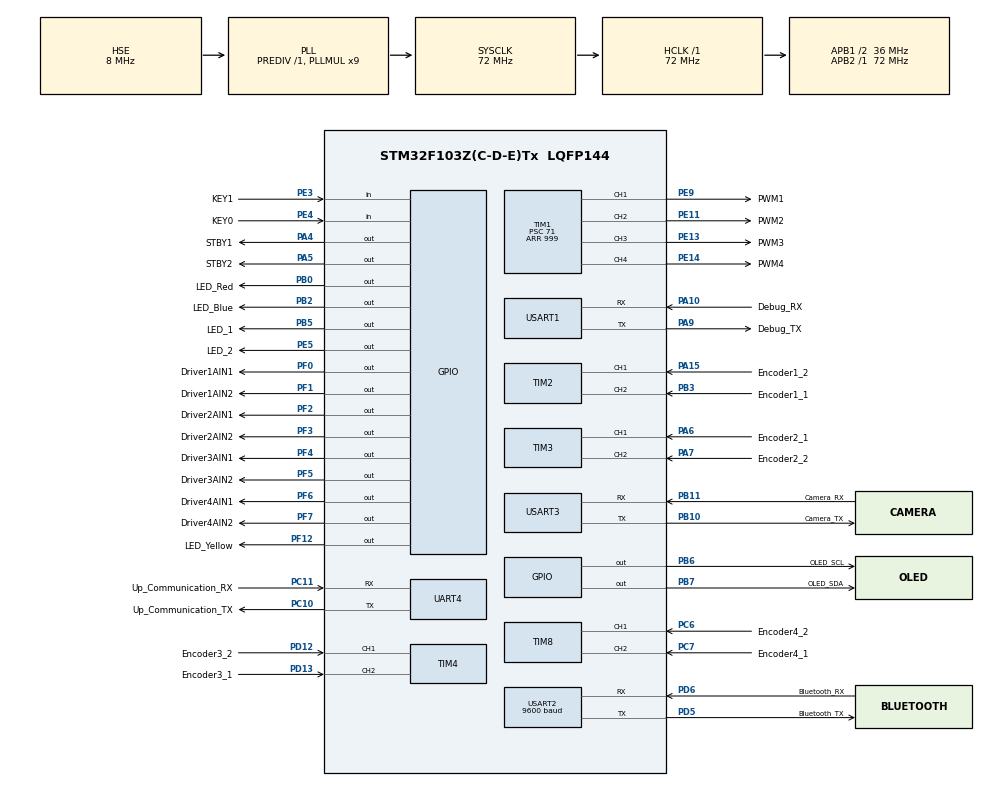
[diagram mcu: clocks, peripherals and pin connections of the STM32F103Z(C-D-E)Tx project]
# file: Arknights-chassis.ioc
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Dma.Request0=USART2_RX
Dma.Request1=USART2_TX
Dma.Request2=USART3_RX
Dma.Request3=USART3_TX
Dma.Request4=UART4_RX
Dma.Request5=UART4_TX
Dma.UART4_RX.4.Direction=DMA_PERIPH_TO_MEMORY
Dma.UART4_RX.4.Instance=DMA2_Channel3
Dma.UART4_RX.4.MemDataAlignment=DMA_MDATAALIGN_BYTE
Dma.UART4_RX.4.MemInc=DMA_MINC_ENABLE
Dma.UART4_RX.4.Mode=DMA_CIRCULAR
Dma.UART4_RX.4.PeriphDataAlignment=DMA_PDATAALIGN_BYTE
Dma.UART4_RX.4.PeriphInc=DMA_PINC_DISABLE
Dma.UART4_RX.4.Priority=DMA_PRIORITY_LOW
Dma.UART4_TX.5.Direction=DMA_MEMORY_TO_PERIPH
Dma.UART4_TX.5.Instance=DMA2_Channel5
Dma.UART4_TX.5.MemDataAlignment=DMA_MDATAALIGN_BYTE
Dma.UART4_TX.5.MemInc=DMA_MINC_ENABLE
Dma.UART4_TX.5.Mode=DMA_NORMAL
Dma.UART4_TX.5.PeriphDataAlignment=DMA_PDATAALIGN_BYTE
Dma.UART4_TX.5.PeriphInc=DMA_PINC_DISABLE
Dma.UART4_TX.5.Priority=DMA_PRIORITY_LOW
Dma.USART2_RX.0.Direction=DMA_PERIPH_TO_MEMORY
Dma.USART2_RX.0.Instance=DMA1_Channel6
Dma.USART2_RX.0.MemDataAlignment=DMA_MDATAALIGN_BYTE
Dma.USART2_RX.0.MemInc=DMA_MINC_ENABLE
Dma.USART2_RX.0.Mode=DMA_CIRCULAR
Dma.USART2_RX.0.PeriphDataAlignment=DMA_PDATAALIGN_BYTE
Dma.USART2_RX.0.PeriphInc=DMA_PINC_DISABLE
Dma.USART2_RX.0.Priority=DMA_PRIORITY_LOW
Dma.USART2_TX.1.Direction=DMA_MEMORY_TO_PERIPH
Dma.USART2_TX.1.Instance=DMA1_Channel7
Dma.USART2_TX.1.MemDataAlignment=DMA_MDATAALIGN_BYTE
Dma.USART2_TX.1.MemInc=DMA_MINC_ENABLE
Dma.USART2_TX.1.Mode=DMA_NORMAL
Dma.USART2_TX.1.PeriphDataAlignment=DMA_PDATAALIGN_BYTE
Dma.USART2_TX.1.PeriphInc=DMA_PINC_DISABLE
Dma.USART2_TX.1.Priority=DMA_PRIORITY_LOW
Dma.USART3_RX.2.Direction=DMA_PERIPH_TO_MEMORY
Dma.USART3_RX.2.Instance=DMA1_Channel3
Dma.USART3_RX.2.MemDataAlignment=DMA_MDATAALIGN_BYTE
Dma.USART3_RX.2.MemInc=DMA_MINC_ENABLE
Dma.USART3_RX.2.Mode=DMA_CIRCULAR
Dma.USART3_RX.2.PeriphDataAlignment=DMA_PDATAALIGN_BYTE
Dma.USART3_RX.2.PeriphInc=DMA_PINC_DISABLE
Dma.USART3_RX.2.Priority=DMA_PRIORITY_LOW
Dma.USART3_TX.3.Direction=DMA_MEMORY_TO_PERIPH
Dma.USART3_TX.3.Instance=DMA1_Channel2
Dma.USART3_TX.3.MemDataAlignment=DMA_MDATAALIGN_BYTE
Dma.USART3_TX.3.MemInc=DMA_MINC_ENABLE
Dma.USART3_TX.3.Mode=DMA_NORMAL
Dma.USART3_TX.3.PeriphDataAlignment=DMA_PDATAALIGN_BYTE
Dma.USART3_TX.3.PeriphInc=DMA_PINC_DISABLE
Dma.USART3_TX.3.Priority=DMA_PRIORITY_LOW
FREERTOS.BinarySemaphores01=xPidSemaphore,Dynamic,NULL,Depleted;xBtReadySem,Dynamic,NULL,Depleted;xUpCommSem,Dynamic,NULL,Depleted
FREERTOS.Mutexes01=xCamMutex,Dynamic,NULL,Available
FREERTOS.Queues01=xCmdQueue,1,uint16_t,0,Dynamic,NULL,NULL;xStatusQueue,16,uint16_t,0,Dynamic,NULL,NULL;xCameraQueue,16,uint16_t,0,Dynamic,NULL,NULL;xUpCommQueue,16,uint16_t,0,Dynamic,NULL,NULL
FREERTOS.Tasks01=PID_Task,40,128,StartPID_Task,Default,NULL,Dynamic,NULL,NULL;Bluetooth_Task,24,128,StartBluetooth_Task,Default,NULL,Dynamic,NULL,NULL;Camera_Task,8,128,StartCamera_Task,Default,NULL,Dynamic,NULL,NULL;KeyTask,41,128,StartKeyTask,Default,NULL,Dynamic,NULL,NULL;UpComm_Task,32,128,StartUpComm_Task,Default,NULL,Dynamic,NULL,NULL
FREERTOS.configTOTAL_HEAP_SIZE=35000
Mcu.Family=STM32F1
Mcu.Name=STM32F103Z(C-D-E)Tx
Mcu.Package=LQFP144
NVIC.DMA1_Channel2_IRQn=true\:5\:0\:false\:false\:true\:true\:false\:true\:true
NVIC.DMA1_Channel3_IRQn=true\:5\:0\:false\:false\:true\:true\:false\:true\:true
NVIC.DMA1_Channel6_IRQn=true\:5\:0\:false\:false\:true\:true\:false\:true\:true
NVIC.DMA1_Channel7_IRQn=true\:5\:0\:false\:false\:true\:true\:false\:true\:true
NVIC.DMA2_Channel3_IRQn=true\:5\:0\:false\:false\:true\:true\:false\:true\:true
NVIC.DMA2_Channel4_5_IRQn=true\:5\:0\:false\:false\:true\:true\:false\:true\:true
NVIC.PriorityGroup=NVIC_PRIORITYGROUP_4
NVIC.TIM6_IRQn=true\:15\:0\:false\:false\:true\:false\:false\:true\:true
NVIC.TimeBase=TIM6_IRQn
NVIC.TimeBaseIP=TIM6
NVIC.UART4_IRQn=true\:5\:0\:false\:false\:true\:true\:true\:true\:true
NVIC.USART1_IRQn=true\:5\:0\:false\:false\:true\:true\:false\:true\:true
NVIC.USART2_IRQn=true\:5\:0\:false\:false\:true\:true\:false\:true\:true
NVIC.USART3_IRQn=true\:5\:0\:false\:false\:true\:true\:false\:true\:true
OSC_IN.Mode=HSE-External-Oscillator
OSC_IN.Signal=RCC_OSC_IN
OSC_OUT.Mode=HSE-External-Oscillator
OSC_OUT.Signal=RCC_OSC_OUT
PA10.GPIO_Label=Debug_RX
PA10.Mode=Asynchronous
PA10.Signal=USART1_RX
PA13.Mode=Serial_Wire
PA13.Signal=SYS_JTMS-SWDIO
PA14.Mode=Serial_Wire
PA14.Signal=SYS_JTCK-SWCLK
PA15.GPIO_Label=Encoder1_2
PA15.Signal=S_TIM2_CH1_ETR
PA4.GPIO_Label=STBY1
PA4.Signal=GPIO_Output
PA5.GPIO_Label=STBY2
PA5.Signal=GPIO_Output
PA6.GPIO_Label=Encoder2_1
PA6.Signal=S_TIM3_CH1
PA7.GPIO_Label=Encoder2_2
PA7.Signal=S_TIM3_CH2
PA9.GPIO_Label=Debug_TX
PA9.Mode=Asynchronous
PA9.Signal=USART1_TX
PB0.GPIO_Label=LED_Red
PB0.Signal=GPIO_Output
PB10.GPIO_Label=Camera_TX
PB10.Mode=Asynchronous
PB10.Signal=USART3_TX
PB11.GPIO_Label=Camera_RX
PB11.Mode=Asynchronous
PB11.Signal=USART3_RX
PB2.GPIO_Label=LED_Blue
PB2.Signal=GPIO_Output
PB3.GPIO_Label=Encoder1_1
PB3.Signal=S_TIM2_CH2
PB5.GPIO_Label=LED_1
PB5.PinState=GPIO_PIN_SET
PB5.Signal=GPIO_Output
PB6.GPIO_Label=OLED_SCL
PB6.GPIO_ModeDefaultOutputPP=GPIO_MODE_OUTPUT_OD
PB6.GPIO_PuPd=GPIO_PULLUP
PB6.GPIO_Speed=GPIO_SPEED_FREQ_HIGH
PB6.Signal=GPIO_Output
PB7.GPIO_Label=OLED_SDA
PB7.GPIO_ModeDefaultOutputPP=GPIO_MODE_OUTPUT_OD
PB7.GPIO_PuPd=GPIO_PULLUP
PB7.GPIO_Speed=GPIO_SPEED_FREQ_HIGH
PB7.Signal=GPIO_Output
PC10.GPIO_Label=Up_Communication_TX
PC10.Mode=Asynchronous
PC10.Signal=UART4_TX
PC11.GPIO_Label=Up_Communication_RX
PC11.Mode=Asynchronous
PC11.Signal=UART4_RX
PC6.GPIO_Label=Encoder4_2
PC6.Signal=S_TIM8_CH1
PC7.GPIO_Label=Encoder4_1
PC7.Signal=S_TIM8_CH2
PD12.GPIO_Label=Encoder3_2
PD12.Signal=S_TIM4_CH1
PD13.GPIO_Label=Encoder3_1
PD13.Signal=S_TIM4_CH2
PD5.GPIO_Label=Bluetooth_TX
PD5.Mode=Asynchronous
PD5.Signal=USART2_TX
PD6.GPIO_Label=Bluetooth_RX
PD6.Mode=Asynchronous
PD6.Signal=USART2_RX
PE11.GPIO_Label=PWM2
PE11.Signal=S_TIM1_CH2
PE13.GPIO_Label=PWM3
PE13.Signal=S_TIM1_CH3
PE14.GPIO_Label=PWM4
PE14.Signal=S_TIM1_CH4
PE3.GPIO_Label=KEY1
PE3.GPIO_PuPd=GPIO_PULLUP
PE3.Signal=GPIO_Input
PE4.GPIO_Label=KEY0
PE4.GPIO_PuPd=GPIO_PULLUP
PE4.Signal=GPIO_Input
PE5.GPIO_Label=LED_2
PE5.PinState=GPIO_PIN_SET
PE5.Signal=GPIO_Output
PE9.GPIO_Label=PWM1
PE9.Signal=S_TIM1_CH1
PF0.GPIO_Label=Driver1AIN1
PF0.Signal=GPIO_Output
PF1.GPIO_Label=Driver1AIN2
PF1.Signal=GPIO_Output
PF12.GPIO_Label=LED_Yellow
PF12.Signal=GPIO_Output
PF2.GPIO_Label=Driver2AIN1
PF2.Signal=GPIO_Output
PF3.GPIO_Label=Driver2AIN2
PF3.Signal=GPIO_Output
PF4.GPIO_Label=Driver3AIN1
PF4.Signal=GPIO_Output
PF5.GPIO_Label=Driver3AIN2
PF5.Signal=GPIO_Output
PF6.GPIO_Label=Driver4AIN1
PF6.Signal=GPIO_Output
PF7.GPIO_Label=Driver4AIN2
PF7.Signal=GPIO_Output
ProjectManager.HeapSize=0x200
ProjectManager.StackSize=0x400
ProjectManager.TargetToolchain=CMake
RCC.AHBFreq_Value=72000000
RCC.APB1CLKDivider=RCC_HCLK_DIV2
RCC.APB1Freq_Value=36000000
RCC.APB1TimFreq_Value=72000000
RCC.APB2Freq_Value=72000000
RCC.APB2TimFreq_Value=72000000
RCC.HCLKFreq_Value=72000000
RCC.PLLMUL=RCC_PLL_MUL9
RCC.PLLSourceVirtual=RCC_PLLSOURCE_HSE
RCC.SYSCLKFreq_VALUE=72000000
RCC.SYSCLKSource=RCC_SYSCLKSOURCE_PLLCLK
RCC.USBFreq_Value=72000000
SH.S_TIM1_CH1.0=TIM1_CH1,PWM Generation1 CH1
SH.S_TIM1_CH2.0=TIM1_CH2,PWM Generation2 CH2
SH.S_TIM1_CH3.0=TIM1_CH3,PWM Generation3 CH3
SH.S_TIM1_CH4.0=TIM1_CH4,PWM Generation4 CH4
SH.S_TIM2_CH1_ETR.0=TIM2_CH1,Encoder_Interface
SH.S_TIM2_CH2.0=TIM2_CH2,Encoder_Interface
SH.S_TIM3_CH1.0=TIM3_CH1,Encoder_Interface
SH.S_TIM3_CH2.0=TIM3_CH2,Encoder_Interface
SH.S_TIM4_CH1.0=TIM4_CH1,Encoder_Interface
SH.S_TIM4_CH2.0=TIM4_CH2,Encoder_Interface
SH.S_TIM8_CH1.0=TIM8_CH1,Encoder_Interface
SH.S_TIM8_CH2.0=TIM8_CH2,Encoder_Interface
TIM1.Channel-PWM\ Generation1\ CH1=TIM_CHANNEL_1
TIM1.Channel-PWM\ Generation2\ CH2=TIM_CHANNEL_2
TIM1.Channel-PWM\ Generation3\ CH3=TIM_CHANNEL_3
TIM1.Channel-PWM\ Generation4\ CH4=TIM_CHANNEL_4
TIM1.Period=999
TIM1.Prescaler=71
TIM2.EncoderMode=TIM_ENCODERMODE_TI12
TIM3.EncoderMode=TIM_ENCODERMODE_TI12
TIM4.EncoderMode=TIM_ENCODERMODE_TI12
TIM8.EncoderMode=TIM_ENCODERMODE_TI12
UART4.VirtualMode=Asynchronous
USART1.VirtualMode=VM_ASYNC
USART2.BaudRate=9600
USART2.VirtualMode=VM_ASYNC
USART3.VirtualMode=VM_ASYNC
VP_FREERTOS_VS_CMSIS_V2.Mode=CMSIS_V2
VP_SYS_VS_tim6.Mode=TIM6
board=custom

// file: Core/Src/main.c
/* USER CODE BEGIN Header */
/**
  ******************************************************************************
  * @file           : main.c
  * @brief          : Main program body
  ******************************************************************************
  * @attention
  *
  * Copyright (c) 2026 STMicroelectronics.
  * All rights reserved.
  *
  * This software is licensed under terms that can be found in the LICENSE file
  * in the root directory of this software component.
  * If no LICENSE file comes with this software, it is provided AS-IS.
  *
  ******************************************************************************
  */
/* USER CODE END Header */
#include "main.h"
#include "cmsis_os.h"
#include "dma.h"
#include "tim.h"
#include "usart.h"
#include "gpio.h"

void SystemClock_Config(void);
void MX_FREERTOS_Init(void);

int main(void)
{

  /* MCU Configuration--------------------------------------------------------*/

  /* Reset of all peripherals, Initializes the Flash interface and the Systick. */
  HAL_Init();

  /* Configure the system clock */
  SystemClock_Config();

  /* Initialize all configured peripherals */
  MX_GPIO_Init();
  MX_DMA_Init();
  MX_TIM1_Init();
  MX_TIM2_Init();
  MX_TIM3_Init();
  MX_TIM4_Init();
  MX_TIM8_Init();
  MX_USART1_UART_Init();
  MX_USART2_UART_Init();
  MX_USART3_UART_Init();
  MX_UART4_Init();

  /* Init scheduler */
  osKernelInitialize();  /* Call init function for freertos objects (in cmsis_os2.c) */
  MX_FREERTOS_Init();

  /* Start scheduler */
  osKernelStart();

  /* We should never get here as control is now taken by the scheduler */

  /* Infinite loop */
  while (1)
  {

  }
}

void SystemClock_Config(void)
{
  RCC_OscInitTypeDef RCC_OscInitStruct = {0};
  RCC_ClkInitTypeDef RCC_ClkInitStruct = {0};

  /** Initializes the RCC Oscillators according to the specified parameters
  * in the RCC_OscInitTypeDef structure.
  */
  RCC_OscInitStruct.OscillatorType = RCC_OSCILLATORTYPE_HSE;
  RCC_OscInitStruct.HSEState = RCC_HSE_ON;
  RCC_OscInitStruct.HSEPredivValue = RCC_HSE_PREDIV_DIV1;
  RCC_OscInitStruct.HSIState = RCC_HSI_ON;
  RCC_OscInitStruct.PLL.PLLState = RCC_PLL_ON;
  RCC_OscInitStruct.PLL.PLLSource = RCC_PLLSOURCE_HSE;
  RCC_OscInitStruct.PLL.PLLMUL = RCC_PLL_MUL9;
  if (HAL_RCC_OscConfig(&RCC_OscInitStruct) != HAL_OK)
  {
    Error_Handler();
  }

  /** Initializes the CPU, AHB and APB buses clocks
  */
  RCC_ClkInitStruct.ClockType = RCC_CLOCKTYPE_HCLK|RCC_CLOCKTYPE_SYSCLK
                              |RCC_CLOCKTYPE_PCLK1|RCC_CLOCKTYPE_PCLK2;
  RCC_ClkInitStruct.SYSCLKSource = RCC_SYSCLKSOURCE_PLLCLK;
  RCC_ClkInitStruct.AHBCLKDivider = RCC_SYSCLK_DIV1;
  RCC_ClkInitStruct.APB1CLKDivider = RCC_HCLK_DIV2;
  RCC_ClkInitStruct.APB2CLKDivider = RCC_HCLK_DIV1;

  if (HAL_RCC_ClockConfig(&RCC_ClkInitStruct, FLASH_LATENCY_2) != HAL_OK)
  {
    Error_Handler();
  }
}

void HAL_TIM_PeriodElapsedCallback(TIM_HandleTypeDef *htim)
{
  if (htim->Instance == TIM6)
  {
    HAL_IncTick();
  }
}

void Error_Handler(void)
{
  __disable_irq();
  while (1)
  {
  }
}

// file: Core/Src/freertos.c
/* USER CODE BEGIN Header */
/**
  ******************************************************************************
  * File Name          : freertos.c
  * Description        : Code for freertos applications
  ******************************************************************************
  * @attention
  *
  * Copyright (c) 2026 STMicroelectronics.
  * All rights reserved.
  *
  * This software is licensed under terms that can be found in the LICENSE file
  * in the root directory of this software component.
  * If no LICENSE file comes with this software, it is provided AS-IS.
  *
  ******************************************************************************
  */
/* USER CODE END Header */

#include "FreeRTOS.h"
#include "task.h"
#include "main.h"
#include "cmsis_os.h"

/* USER CODE BEGIN Includes */
#include "motor.h"
#include "kinematics.h"
#include "remote.h"
#include "OLED.h"
#include "bluetooth.h"
#include "key.h"
#include "camera.h"
#include "usart.h"
#include <stdio.h>

#include "tim.h"
/* USER CODE END Includes */

/* Definitions for PID_Task */
osThreadId_t PID_TaskHandle;
const osThreadAttr_t PID_Task_attributes = {
  .name = "PID_Task",
  .stack_size = 128 * 4,
  .priority = (osPriority_t) osPriorityHigh,
};
/* Definitions for Bluetooth_Task */
osThreadId_t Bluetooth_TaskHandle;
const osThreadAttr_t Bluetooth_Task_attributes = {
  .name = "Bluetooth_Task",
  .stack_size = 128 * 4,
  .priority = (osPriority_t) osPriorityNormal,
};
/* Definitions for Camera_Task */
osThreadId_t Camera_TaskHandle;
const osThreadAttr_t Camera_Task_attributes = {
  .name = "Camera_Task",
  .stack_size = 128 * 4,
  .priority = (osPriority_t) osPriorityLow,
};
/* Definitions for KeyTask */
osThreadId_t KeyTaskHandle;
const osThreadAttr_t KeyTask_attributes = {
  .name = "KeyTask",
  .stack_size = 128 * 4,
  .priority = (osPriority_t) osPriorityHigh1,
};
/* Definitions for UpComm_Task */
osThreadId_t UpComm_TaskHandle;
const osThreadAttr_t UpComm_Task_attributes = {
  .name = "UpComm_Task",
  .stack_size = 128 * 4,
  .priority = (osPriority_t) osPriorityAboveNormal,
};
/* Definitions for xCmdQueue */
osMessageQueueId_t xCmdQueueHandle;
const osMessageQueueAttr_t xCmdQueue_attributes = {
  .name = "xCmdQueue"
};
/* Definitions for xStatusQueue */
osMessageQueueId_t xStatusQueueHandle;
const osMessageQueueAttr_t xStatusQueue_attributes = {
  .name = "xStatusQueue"
};
/* Definitions for xCameraQueue */
osMessageQueueId_t xCameraQueueHandle;
const osMessageQueueAttr_t xCameraQueue_attributes = {
  .name = "xCameraQueue"
};
/* Definitions for xUpCommQueue */
osMessageQueueId_t xUpCommQueueHandle;
const osMessageQueueAttr_t xUpCommQueue_attributes = {
  .name = "xUpCommQueue"
};
/* Definitions for xCamMutex */
osMutexId_t xCamMutexHandle;
const osMutexAttr_t xCamMutex_attributes = {
  .name = "xCamMutex"
};
/* Definitions for xPidSemaphore */
osSemaphoreId_t xPidSemaphoreHandle;
const osSemaphoreAttr_t xPidSemaphore_attributes = {
  .name = "xPidSemaphore"
};
/* Definitions for xBtReadySem */
osSemaphoreId_t xBtReadySemHandle;
const osSemaphoreAttr_t xBtReadySem_attributes = {
  .name = "xBtReadySem"
};
/* Definitions for xUpCommSem */
osSemaphoreId_t xUpCommSemHandle;
const osSemaphoreAttr_t xUpCommSem_attributes = {
  .name = "xUpCommSem"
};

void StartPID_Task(void *argument);
void StartBluetooth_Task(void *argument);
void StartCamera_Task(void *argument);
void StartKeyTask(void *argument);
void StartUpComm_Task(void *argument);

void MX_FREERTOS_Init(void); /* (MISRA C 2004 rule 8.1) */

void MX_FREERTOS_Init(void) {
  /* Create the mutex(es) */
  /* creation of xCamMutex */
  xCamMutexHandle = osMutexNew(&xCamMutex_attributes);

  /* Create the semaphores(s) */
  /* creation of xPidSemaphore */
  xPidSemaphoreHandle = osSemaphoreNew(1, 0, &xPidSemaphore_attributes);

  /* creation of xBtReadySem */
  xBtReadySemHandle = osSemaphoreNew(1, 0, &xBtReadySem_attributes);

  /* creation of xUpCommSem */
  xUpCommSemHandle = osSemaphoreNew(1, 0, &xUpCommSem_attributes);

  /* Create the queue(s) */
  /* creation of xCmdQueue */
  xCmdQueueHandle = osMessageQueueNew (1, sizeof(uint16_t), &xCmdQueue_attributes);

  /* creation of xStatusQueue */
  xStatusQueueHandle = osMessageQueueNew (16, sizeof(uint16_t), &xStatusQueue_attributes);

  /* creation of xCameraQueue */
  xCameraQueueHandle = osMessageQueueNew (16, sizeof(uint16_t), &xCameraQueue_attributes);

  /* creation of xUpCommQueue */
  xUpCommQueueHandle = osMessageQueueNew (16, sizeof(uint16_t), &xUpCommQueue_attributes);

  /* Create the thread(s) */
  /* creation of PID_Task */
  PID_TaskHandle = osThreadNew(StartPID_Task, NULL, &PID_Task_attributes);

  /* creation of Bluetooth_Task */
  Bluetooth_TaskHandle = osThreadNew(StartBluetooth_Task, NULL, &Bluetooth_Task_attributes);

  /* creation of Camera_Task */
  Camera_TaskHandle = osThreadNew(StartCamera_Task, NULL, &Camera_Task_attributes);

  /* creation of KeyTask */
  KeyTaskHandle = osThreadNew(StartKeyTask, NULL, &KeyTask_attributes);

  /* creation of UpComm_Task */
  UpComm_TaskHandle = osThreadNew(StartUpComm_Task, NULL, &UpComm_Task_attributes);

}

void StartPID_Task(void *argument)
{
  /* USER CODE BEGIN StartPID_Task */
  /* 初始化电机和编码器 */
  Motor_Init();
  Encoder_Init();
  Kinematics_ResetPose(0, 0, 0);
  Remote_Init();

  /* 按键控制状态 */
  static uint8_t motor_toggle_state = 0;  /* 0=停止, 1=运行 */
  static uint8_t key0_last_state = 0;    /* KEY0 上次状态 */
  static uint8_t key1_last_state = 0;    /* KEY1 上次状态 */
  static uint8_t key_forward_active = 0;  /* 按键前进激活标志 */

  /* VOFA 发送缓冲 */
  static char vofa_buf[256];
  static char up_buf[16];
  static int32_t last_sent_num = -1;
  uint32_t vofa_last_send = 0;

  /* 初始化显示 */
  OLED_Init();
  OLED_Clear();
  OLED_ShowString(0, 0, "Chassis Ready", OLED_8X16);
  OLED_Update();

  /* 主循环 */
  for(;;)
  {
    /* 更新编码器 */
    Motor_EncoderUpdate();

    /* 获取遥控器数据 */
    RemoteData_t* remote = Remote_GetData();

    /* 遥控器数字同步到上层板：数字变化时通过 UART4 转发 */
    if (remote->receive_number != last_sent_num) {
      last_sent_num = remote->receive_number;
      int up_len = sprintf(up_buf, "%ld\r\n", (long)remote->receive_number);
      HAL_UART_Transmit(&huart4, (uint8_t*)up_buf, up_len, 50);
    }

    /* 检查按键状态 - 按一下toggle开/关 */
    uint8_t key0_pressed = KEY_IsPressed(KEY_ID_0);
    uint8_t key1_pressed = KEY_IsPressed(KEY_ID_1);

    /* KEY0: 前进/停止 toggle */
    if (key0_pressed && !key0_last_state) {
      if (motor_toggle_state == 0) {
        motor_toggle_state = 1;
        key_forward_active = 1;  /* 标记按键前进激活 */
        Kinematics_SetTarget(KEY_FORWARD_SPEED, 0, 0);  /* 前进用 vx */
      } else {
        motor_toggle_state = 0;
        key_forward_active = 0;  /* 取消前进标记 */
        Kinematics_SetTarget(0, 0, 0);
      }
    }
    key0_last_state = key0_pressed;

    /* KEY1: 后退/停止 toggle */
    if (key1_pressed && !key1_last_state) {
      if (motor_toggle_state == 0) {
        motor_toggle_state = 1;
        key_forward_active = 0;  /* 取消前进标记 */
        Kinematics_SetTarget(KEY_BACKWARD_SPEED, 0, 0);  /* 后退用 vx */
      } else {
        motor_toggle_state = 0;
        Kinematics_SetTarget(0, 0, 0);
      }
    }
    key1_last_state = key1_pressed;

    /* 速度控制逻辑：遥控器优先，但摇杆中间时不再保留残留目标 */
    if (!Remote_IsConnected()) {
      /* 遥控器未连接，使用按键设置；若未进入按键模式则清零 */
      if (motor_toggle_state == 0) {
        Kinematics_SetTarget(0, 0, 0);
      }
    } else if (remote->vx == 0 && remote->vy == 0 && remote->omega == 0) {
      /* 遥控器连接但摇杆回中：只有按键未接管时才清零，避免残留非零目标 */
      if (motor_toggle_state == 0) {
        Kinematics_SetTarget(0, 0, 0);
      }
    } else {
      /* 遥控器连接且摇杆有输入，使用遥控器数据 */
      motor_toggle_state = 0;
      key_forward_active = 0;
      Kinematics_SetTarget(remote->vx, remote->vy, remote->omega);
    }

    /* 获取轮子目标速度 */
    WheelSpeedMm_t* wheel = Kinematics_GetTargetWheelSpeed();

    /* 设置电机速度 */
    Motor_SetSpeed(wheel->left_front, wheel->right_front, wheel->left_back, wheel->right_back);

    /* PID控制 */
    Motor_ControlLoop();

    /* 更新里程计 */
    Kinematics_UpdatePosition(0.001f);  /* 1ms */

    /* 发送 VOFA+ 调试数据 (20ms间隔) */
    uint32_t now = osKernelGetTickCount();
    if (now - vofa_last_send >= 20) {
      vofa_last_send = now;
      ChassisMotorState_t* state = Motor_GetState();

      /* 读取原始编码器读书用于调试 */
      uint16_t enc1 = __HAL_TIM_GET_COUNTER(&htim2);
      uint16_t enc2 = __HAL_TIM_GET_COUNTER(&htim3);
      uint16_t enc3 = __HAL_TIM_GET_COUNTER(&htim4);
      uint16_t enc4 = __HAL_TIM_GET_COUNTER(&htim8);

      int len = sprintf(vofa_buf,
        "%d,%d,%d,%d,%d,%d,%d,%d,%d,%d,%d,%d,%d\n",
        (int)wheel->left_front,
        (int)wheel->right_front,
        (int)wheel->left_back,
        (int)wheel->right_back,
        (int)state->feedback_left_front,
        (int)state->feedback_right_front,
        (int)state->feedback_left_back,
        (int)state->feedback_right_back,
        (int)enc1,
        (int)enc2,
        (int)enc3,
        (int)enc4,
        (int)Motor_GetMode()
      );
      // 然后发送实际数据
      HAL_UART_Transmit(&huart1, (uint8_t*)vofa_buf, len, 100);
    }

    /* 显示状态 (降低刷新率) */
    static uint32_t last_display = 0;
    if (now - last_display > 100) {
      last_display = now;
      OLED_ClearArea(0, 0, 128, 64);
      ChassisMotorState_t* state = Motor_GetState();
      /* 显示遥控器目标速度和旋转速度 */
      OLED_Printf(0, 0, OLED_6X8, "Vx:%+d Vy:%+d W:%+d", (int)remote->vx, (int)remote->vy, (int)remote->omega);
      /* 显示四个电机的PWM值 */
      OLED_Printf(0, 8, OLED_6X8, "LF:%+4d RF:%+4d", state->PWM_left_front, state->PWM_right_front);
      OLED_Printf(0, 16, OLED_6X8, "LB:%+4d RB:%+4d", state->PWM_left_back, state->PWM_right_back);

      /* 显示相机调试信息 */
      uint32_t rx_count, raw_len;
      uint8_t valid, idle_flag;
      idle_flag = Camera_GetDebugInfo(&rx_count, &raw_len, &valid);

      OLED_Printf(0, 24, OLED_6X8, "RX:%d Idle:%d M:%d", rx_count, idle_flag, Motor_GetMode());

      if (raw_len > 0) {
        OLED_Printf(0, 32, OLED_6X8, "Raw:%s", Camera_GetRawData());
      } else {
        OLED_Printf(0, 32, OLED_6X8, "Raw:None");
      }

      /* 显示解析后的颜色 */
      if (valid) {
        OLED_Printf(0, 40, OLED_6X8, "C1:%s", Camera_GetColor1());
        OLED_Printf(64, 40, OLED_6X8, "C2:%s", Camera_GetColor2());
        /* color3 显示第三个及以后的颜色 */
        const char* c3 = Camera_GetColor3();
        if (c3[0] != '\0') {
          OLED_Printf(0, 50, OLED_6X8, "C3:%s", c3);
        } else {
          OLED_Printf(0, 50, OLED_6X8, "C3:None");
        }
      } else {
        OLED_Printf(0, 40, OLED_6X8, "Color:Waiting");
        OLED_Printf(0, 50, OLED_6X8, "C3:None");
      }

      OLED_Update();
    }

    /* LED控制逻辑 */
    /* 遥控器连接且有摇杆输入时，PE5(LED_2)置低电平 */
    if (Remote_IsConnected()) {
      /* 检查是否有非零速度指令（摇杆有输入） */
      if (remote->vx != 0 || remote->vy != 0 || remote->omega != 0) {
        HAL_GPIO_WritePin(LED_2_GPIO_Port, LED_2_Pin, GPIO_PIN_RESET);  /* PE5置低 */
      } else {
        HAL_GPIO_WritePin(LED_2_GPIO_Port, LED_2_Pin, GPIO_PIN_SET);   /* PE5置高 */
      }
    } else {
      HAL_GPIO_WritePin(LED_2_GPIO_Port, LED_2_Pin, GPIO_PIN_SET);      /* 遥控器未连接，PE5置高 */
    }

    /* KEY0按下前进时，PB5(LED_1)置低电平 */
    if (key_forward_active) {
      HAL_GPIO_WritePin(LED_1_GPIO_Port, LED_1_Pin, GPIO_PIN_SET);  /* PB5置低 */
    } else {
      HAL_GPIO_WritePin(LED_1_GPIO_Port, LED_1_Pin, GPIO_PIN_RESET);   /* PB5置高 */
    }

    osDelay(10);
  }
  /* USER CODE END StartPID_Task */
}

void StartBluetooth_Task(void *argument)
{
  /* USER CODE BEGIN StartBluetooth_Task */
  /* 初始化蓝牙模块 */
  BT_Init();

  /* 主循环 - 等待蓝牙数据 */
  for(;;)
  {
    /* 等待新数据或超时 */
    if (BT_WaitData(100)) {
      /* 有新数据到达，已经在中断中处理 */
    }

    osDelay(1);
  }
  /* USER CODE END StartBluetooth_Task */
}

void StartCamera_Task(void *argument)
{
  /* USER CODE BEGIN StartCamera_Task */
  /* 初始化相机数据接收 */
  Camera_Init();

  /* 主循环 */
  for(;;)
  {
    /* 处理接收到的数据 */
    Camera_Process();

    /* 发送颜色数据到蓝牙（遥控器） */
    static uint32_t last_send = 0;
    uint32_t now = osKernelGetTickCount();
    if (now - last_send >= 100) {  /* 100ms发送一次 */
      last_send = now;
      Camera_SendToBluetooth(&huart2);
    }

    osDelay(10);  /* 10ms周期 */
  }
  /* USER CODE END StartCamera_Task */
}

void StartKeyTask(void *argument)
{
  /* USER CODE BEGIN StartKeyTask */
  /* 初始化按键模块 */
  KEY_Init();

  /* 主循环 - 按键扫描 */
  for(;;)
  {
    KEY_Scan();
    osDelay(20);  /* 20ms 扫描周期 */
  }
  /* USER CODE END StartKeyTask */
}

void StartUpComm_Task(void *argument)
{
  for(;;)
  {
    osDelay(1);
  }
}
